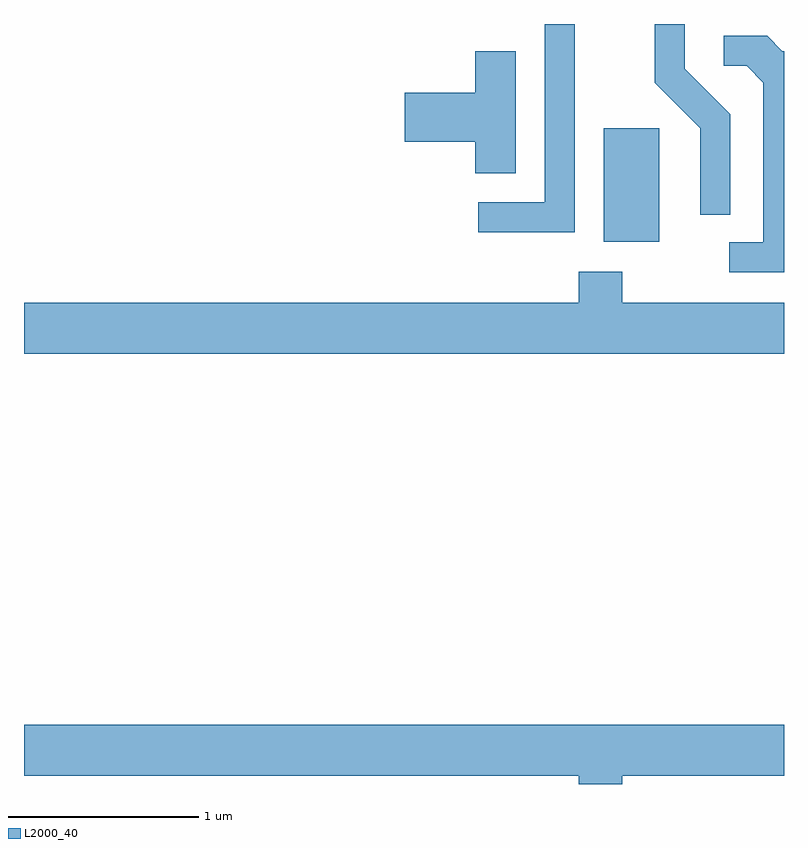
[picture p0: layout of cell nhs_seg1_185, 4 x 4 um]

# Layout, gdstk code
import gdstk
lib = gdstk.Library(unit=1e-6, precision=1e-09)
def R(c, l, rs):  # rectangles x0, y0, x1, y1
    for r in rs: c.add(gdstk.rectangle(r[:2], r[2:], *l))
def P(c, l, *ps):  # polygons
    for p in ps: c.add(gdstk.Polygon(p, *l))
L2000_40 = (2000, 40)

nhs_seg1_185 = lib.new_cell('nhs_seg1_185')
R(nhs_seg1_185, L2000_40, [(192.661,944.566,192.954,945.164)])
P(nhs_seg1_185, L2000_40, [(192.509,945.712),(192.351,945.712),(192.351,944.774),(192.003,944.774),(192.003,944.616),(192.509,944.616)],
  [(193.329,945.237),(193.089,945.477),(193.089,945.712),(192.931,945.712),(192.931,945.404),(193.171,945.164),(193.171,944.708),(193.329,944.708)],
  [(193.611,945.569),(193.602,945.569),(193.522,945.649),(193.293,945.649),(193.293,945.491),(193.414,945.491),(193.501,945.404),(193.501,944.564),(193.323,944.564),(193.323,944.406),(193.611,944.406)],
  [(192.199,945.569),(191.986,945.569),(191.986,945.349),(191.616,945.349),(191.616,945.091),(191.986,945.091),(191.986,944.926),(192.199,944.926)],
  [(193.611,944.244),(192.759,944.244),(192.759,944.409),(192.531,944.409),(192.531,944.244),(189.611,944.244),(189.611,943.976),(193.611,943.976)],
  [(192.759,941.756),(193.611,941.756),(193.611,942.024),(189.611,942.024),(189.611,941.756),(192.531,941.756),(192.531,941.712),(192.759,941.712)])

lib.write_gds('nhs_seg1_185.gds')
